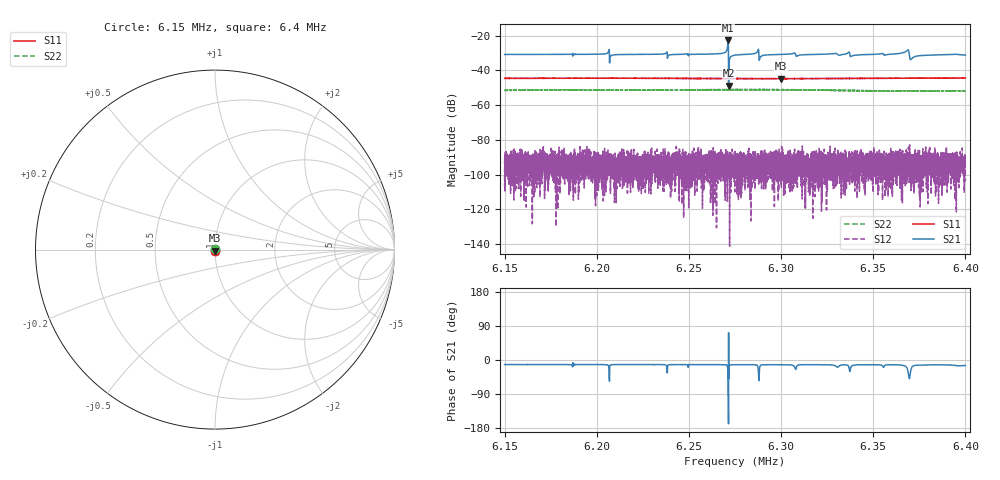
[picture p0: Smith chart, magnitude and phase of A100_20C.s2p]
!CETC41,AV3656A,ZGL00048,1.3.2
!Calibration ON (Full Solt 2-Port(Omit Isolation))
!Measurements: S11 S21 S12 S22
!2025-04-29 17:59
# Hz  S  dB  R 50.000
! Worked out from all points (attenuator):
!   6401 points, 6.15 MHz to 6.4 MHz, reference 50 ohm
!   highest |S21| = -22.75 dB at 6.2713 MHz (marker M1); lowest = -48.8 dB at 6.2715 MHz (marker M2)
!   lowest |S11| = -44.8 dB at 6.2999 MHz (marker M3), VSWR 1.01, Z = 50.1 - j0.572 ohm
!   |S11| at or under -10 dB: start of sweep to end of sweep
!   |S22| runs from -52.1 to -50.9 dB; largest |S21 - S12| = 0.073
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6150000  -44.57 -82.8  -30.82 -12.0  -90.88 43.7  -51.45 107.4
6191680  -44.49 -82.0  -30.74 -12.1  -97.18 17.2  -51.38 106.7
6205586  -44.50 -81.9  -30.15 -12.4  -96.72 -149.4  -51.34 106.0
6208125  -44.54 -82.2  -31.31 -12.4  -95.35 59.0  -51.40 105.0
6233359  -44.60 -82.5  -30.67 -12.1  -97.02 166.3  -51.36 104.0
6265898  -44.66 -83.4  -30.39 -12.2  -87.56 136.8  -51.12 105.1
6269063  -44.70 -83.7  -29.91 -12.4  -95.23 -128.3  -51.10 105.2
6270195  -44.70 -83.5  -29.14 -12.9  -92.52 110.6  -51.18 105.5
6271328  -44.75 -83.7  -22.75 -72.6  -95.03 113.0  -51.02 105.7
6271523  -44.64 -83.5  -48.76 72.2  -99.65 -8.3  -51.05 105.2
6272734  -44.77 -83.6  -32.11 -12.8  -99.03 152.9  -51.06 105.4
6275000  -44.71 -83.7  -31.21 -12.3  -88.79 41.7  -51.19 105.5
6286680  -44.76 -84.0  -29.81 -13.2  -94.97 115.7  -51.20 105.7
6289219  -44.68 -83.9  -31.85 -13.4  -86.32 142.5  -51.14 106.0
6299922  -44.81 -83.5  -30.80 -12.4  -91.20 122.3  -51.10 107.5
6316680  -44.72 -83.3  -30.84 -12.4  -91.34 32.3  -51.37 106.2
6338633  -44.62 -82.6  -31.61 -14.8  -104.78 -145.0  -51.59 105.5
6358359  -44.49 -82.8  -30.78 -12.6  -95.16 -171.8  -51.77 104.6
6368203  -44.51 -82.6  -28.75 -20.0  -104.74 7.9  -51.88 105.1
6371016  -44.50 -82.9  -33.06 -18.7  -97.38 100.5  -51.84 105.5
6376406  -44.48 -82.6  -31.41 -13.4  -104.24 -50.6  -51.87 105.0
6400000  -44.44 -82.7  -31.16 -14.4  -104.07 35.5  -51.83 106.1
